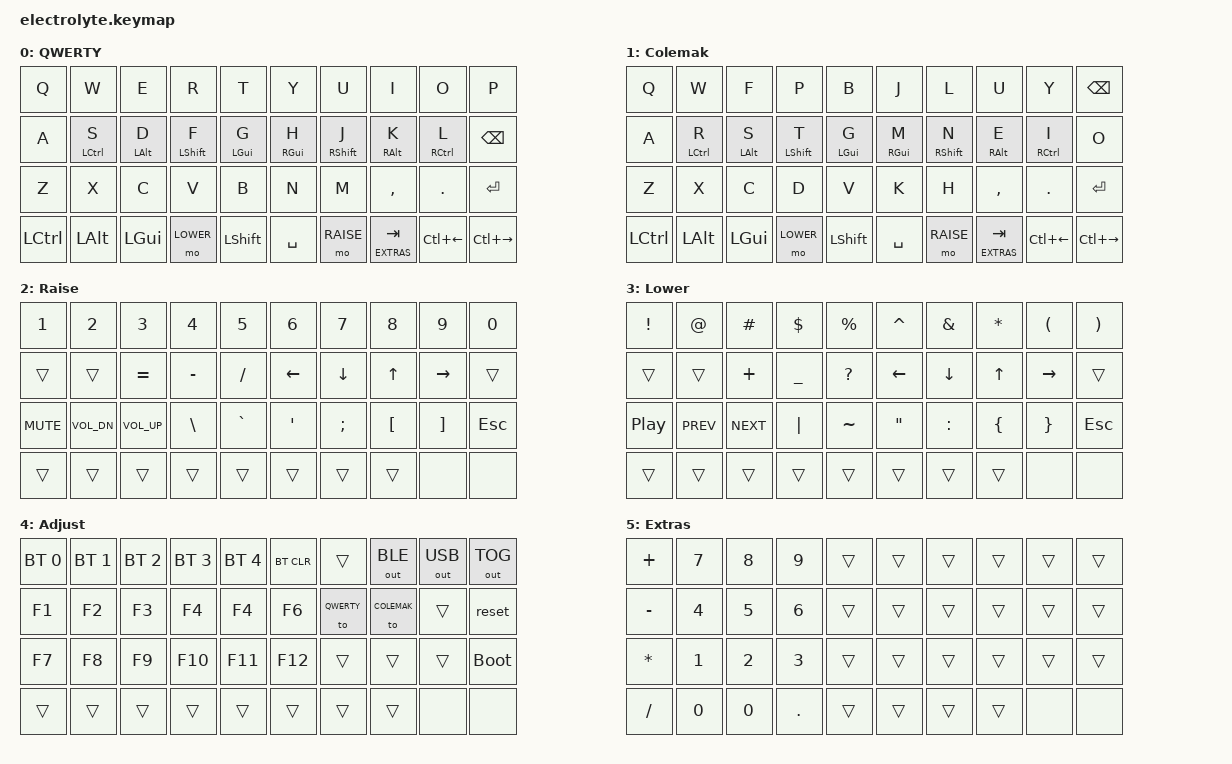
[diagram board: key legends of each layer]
/*
 * Copyright (c) 2020 The ZMK Contributors
 *
 * SPDX-License-Identifier: MIT
 */

#include <behaviors.dtsi>
#include <dt-bindings/zmk/keys.h>
#include <dt-bindings/zmk/bt.h>
#include <dt-bindings/zmk/outputs.h>
#include <dt-bindings/zmk/ext_power.h>

#define QWERTY 0
#define COLEMAK 1
#define RAISE 2
#define LOWER 3
#define ADJUST 4
#define EXTRAS 5

/ {
    conditional_layers {
        compatible = "zmk,conditional-layers";
        tri_layer {
            if-layers = <RAISE LOWER>;
            then-layer = <ADJUST>;
        };
    };
};

/ {
    behaviors {
        hm: homerow_mods {
            compatible = "zmk,behavior-hold-tap";
            label = "homerow mods";
            #binding-cells = <2>;
            tapping-term-ms = <225>;
            flavor = "tap-preferred";
            bindings = <&kp>, <&kp>;
        };
    };
};


/ {
       keymap {
              compatible = "zmk,keymap";

              qwerty_layer {
                     label = "QWERTY";
                     bindings = <
       &kp Q     &kp W       &kp E      &kp R       &kp T      &kp Y      &kp U       &kp I          &kp O        &kp P
       &kp A     &hm LCTRL S &hm LALT D &hm LSHFT F &hm LGUI G &hm RGUI H &hm RSHFT J &hm RALT K     &hm RCTRL L  &kp BSPC
       &kp Z     &kp X       &kp C      &kp V       &kp B      &kp N      &kp M       &kp COMMA      &kp DOT      &kp ENTER
       &kp LCTRL &kp LALT    &kp LGUI   &mo LOWER   &kp LSHIFT &kp SPACE  &mo RAISE   &lt EXTRAS TAB &kp LC(LEFT) &kp LC(RIGHT)
                     >;
              };

              colemak_layer {
                     label = "Colemak";
                     bindings = <
       &kp Q     &kp W       &kp F      &kp P       &kp B      &kp J      &kp L       &kp U          &kp Y        &kp BSPC
       &kp A     &hm LCTRL R &hm LALT S &hm LSHFT T &hm LGUI G &hm RGUI M &hm RSHFT N &hm RALT E     &hm RCTRL I  &kp O
       &kp Z     &kp X       &kp C      &kp D       &kp V      &kp K      &kp H       &kp COMMA      &kp DOT      &kp ENTER
       &kp LCTRL &kp LALT    &kp LGUI   &mo LOWER   &kp LSHIFT &kp SPACE  &mo RAISE   &lt EXTRAS TAB &kp LC(LEFT) &kp LC(RIGHT)
                     >;
              };

              raise_layer {
                     label = "Raise";
                     bindings = <
    &kp N1     &kp N2       &kp N3       &kp N4    &kp N5     &kp N6   &kp N7   &kp N8   &kp N9    &kp N0
    &trans     &trans       &kp EQUAL    &kp MINUS &kp SLASH  &kp LEFT &kp DOWN &kp UP   &kp RIGHT &trans
    &kp C_MUTE &kp C_VOL_DN &kp C_VOL_UP &kp BSLH  &kp GRAVE  &kp SQT  &kp SEMI &kp LBKT &kp RBKT  &kp ESC
    &trans     &trans       &trans       &trans    &trans     &trans   &trans   &trans   &none     &none
                     >;
              };

              lower_layer {
                     label = "Lower";
                     bindings = <
    &kp EXCL &kp AT     &kp HASH   &kp DLLR  &kp PRCNT &kp CARET &kp AMPS  &kp STAR &kp LPAR  &kp RPAR
    &trans   &trans     &kp PLUS   &kp UNDER &kp QMARK &kp LEFT  &kp DOWN  &kp UP   &kp RIGHT &trans
    &kp C_PP &kp C_PREV &kp C_NEXT &kp PIPE  &kp TILDE &kp DQT   &kp COLON &kp LBRC &kp RBRC  &kp ESC
    &trans   &trans     &trans     &trans    &trans    &trans    &trans    &trans   &none    &none
                     >;
              };

              adjust_layer {
                     label = "Adjust";
                     bindings = <
    &bt BT_SEL 0 &bt BT_SEL 1 &bt BT_SEL 2 &bt BT_SEL 3 &bt BT_SEL 4 &bt BT_CLR &trans     &out OUT_BLE &out OUT_USB &out OUT_TOG
    &kp F1       &kp F2       &kp F3       &kp F4       &kp F4       &kp F6     &to QWERTY &to COLEMAK  &trans       &reset
    &kp F7       &kp F8       &kp F9       &kp F10      &kp F11      &kp F12    &trans     &trans       &trans       &bootloader
    &trans       &trans       &trans       &trans       &trans       &trans     &trans     &trans       &none        &none
                     >;
              };

              extras_layer {
                     label = "Extras";
                     bindings = <
    &kp PLUS  &kp N7 &kp N8 &kp N9  &trans &trans &trans &trans &trans &trans
    &kp MINUS &kp N4 &kp N5 &kp N6  &trans &trans &trans &trans &trans &trans
    &kp STAR  &kp N1 &kp N2 &kp N3  &trans &trans &trans &trans &trans &trans
    &kp SLASH &kp N0 &kp N0 &kp DOT &trans &trans &trans &trans &none  &none
                     >;
              };
       };
};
